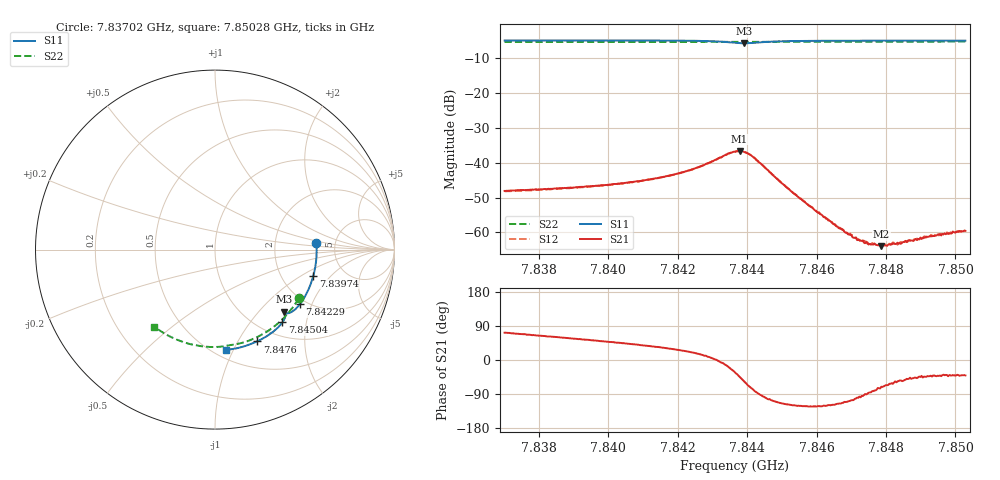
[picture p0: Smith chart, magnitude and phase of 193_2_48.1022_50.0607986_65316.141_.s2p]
#  HZ  S  RI  R  50.00
! Rohde & Schwarz Vector Network Analyzer
! Rohde-Schwarz,ZNB20-2Port,1311601062101988,3.16
! Created: UTC 12/23/2023, 3:53:59 AM
! freq[Hz]  re:S11  im:S11  re:S21  im:S21  re:S12  im:S12  re:S22  im:S22
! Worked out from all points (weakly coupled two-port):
!   401 points, 7.83702 GHz to 7.85028 GHz, reference 50 ohm
!   highest |S21| = -36.65 dB at 7.84378 GHz (marker M1); lowest = -64.0 dB at 7.84786 GHz (marker M2)
!   lowest |S11| = -5.7 dB at 7.84392 GHz (marker M3), VSWR 3.14, Z = 73.4 - j69.2 ohm
!   |S11| at or under -10 dB: nowhere
!   |S22| runs from -5.4 to -5.3 dB; largest |S21 - S12| = 0.00037
!   S11 on the Smith chart (normalised r, x): 7.83702 GHz: 3.57, +0.37; 7.83974 GHz: 3.01, -1.29; 7.84229 GHz: 1.84, -1.64; 7.84504 GHz: 1.25, -1.46; 7.8476 GHz: 0.81, -1.21; 7.85028 GHz: 0.57, -0.94
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7.837017e9  0.565 0.0348  0.00122 0.00374  0.00126 0.00371  0.4665 -0.2711
7.839239e9  0.5556 -0.1126  0.00263 0.00365  0.00262 0.00361  0.3708 -0.3932
7.839737e9  0.548 -0.1452  0.00302 0.00361  0.00296 0.00358  0.3446 -0.4165
7.840433e9  0.5338 -0.1901  0.00364 0.00355  0.00357 0.00351  0.3056 -0.4461
7.841462e9  0.5048 -0.2546  0.00506 0.0034  0.005 0.0034  0.2439 -0.4831
7.842291e9  0.4727 -0.3049  0.00712 0.00292  0.00706 0.00292  0.1905 -0.5065
7.843153e9  0.4228 -0.3495  0.0114 -0.000284  0.0114 -0.000222  0.1322 -0.524
7.843651e9  0.388 -0.3527  0.0121 -0.00771  0.0122 -0.00774  0.099 -0.5299
7.843783e9  0.3838 -0.3487  0.0105 -0.0103  0.0105 -0.0101  0.0907 -0.5313
7.843916e9  0.3836 -0.3457  0.00767 -0.0119  0.00804 -0.0119  0.0822 -0.5327
7.844082e9  0.3876 -0.3462  0.00419 -0.0124  0.00428 -0.0124  0.0717 -0.5347
7.844248e9  0.3915 -0.3528  0.00122 -0.0111  0.00132 -0.0112  0.0609 -0.5367
7.845044e9  0.376 -0.4054  -0.00208 -0.0044  -0.00203 -0.00445  0.00527 -0.5426
7.845873e9  0.3348 -0.4486  -0.00123 -0.00189  -0.00121 -0.00195  -0.0533 -0.5409
7.846868e9  0.2787 -0.4884  -0.000348 -0.000931  -0.000363 -0.000916  -0.1224 -0.5301
7.8472e9  0.2589 -0.4993  -0.00013 -0.000768  -0.000138 -0.000782  -0.145 -0.5249
7.847598e9  0.2349 -0.5115  9.16e-05 -0.000668  0.000101 -0.000694  -0.172 -0.5169
7.847863e9  0.2187 -0.5187  0.00021 -0.000599  0.000213 -0.000633  -0.1894 -0.5109
7.848096e9  0.2043 -0.5246  0.000308 -0.000596  0.000294 -0.000621  -0.2046 -0.5051
7.848394e9  0.1855 -0.5316  0.000412 -0.000566  0.000385 -0.000601  -0.224 -0.4971
7.849489e9  0.1149 -0.5508  0.000701 -0.000622  0.000707 -0.000622  -0.2919 -0.4611
7.850285e9  0.0628 -0.5589  0.000797 -0.000686  0.000796 -0.000696  -0.3376 -0.4293
